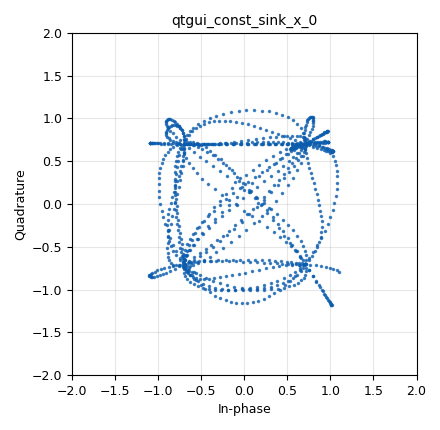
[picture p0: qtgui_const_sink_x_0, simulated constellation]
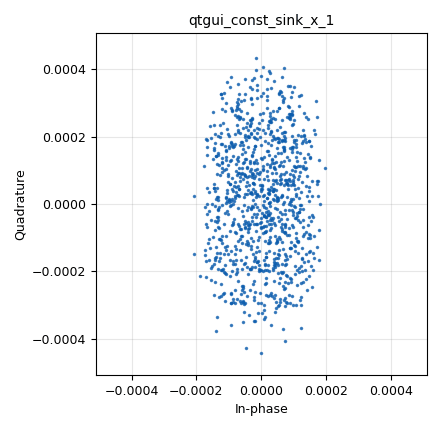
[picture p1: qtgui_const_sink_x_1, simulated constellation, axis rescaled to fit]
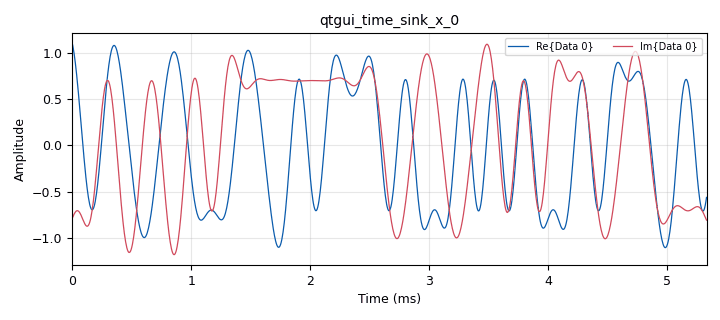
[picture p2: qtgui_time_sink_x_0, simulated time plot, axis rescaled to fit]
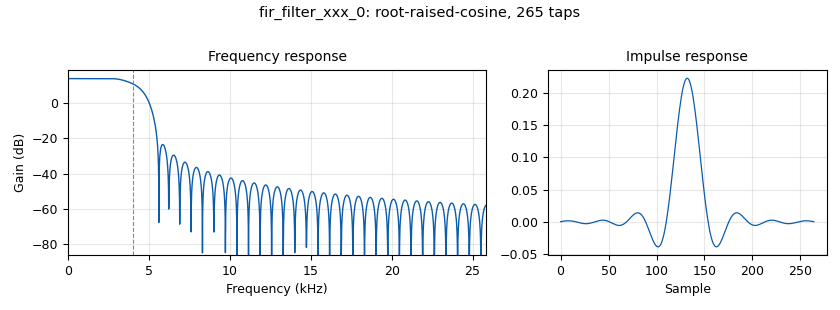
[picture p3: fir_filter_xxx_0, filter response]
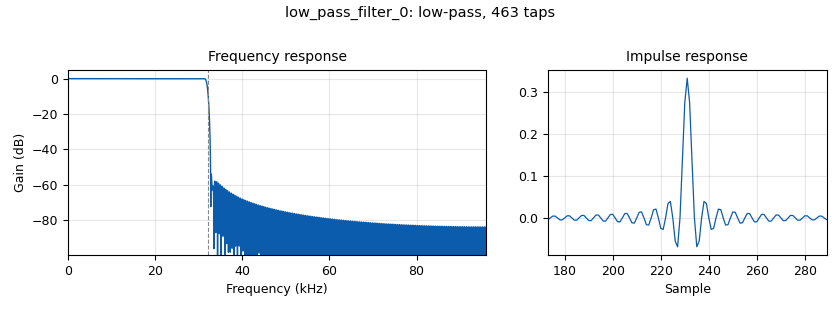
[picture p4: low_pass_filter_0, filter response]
options:
  parameters:
    author: p
    generate_options: qt_gui
    id: week7_lecture32
    output_language: python
    title: Not titled yet
  states: {}

blocks:
- name: delay
  id: variable_qtgui_range
  parameters:
    start: '0'
    step: '1'
    stop: sps
    value: '0'
  states: {}
- name: fc
  id: variable
  parameters:
    value: '32000'
  states: {}
- name: myconst
  id: variable_constellation
  parameters:
    const_points: '[-1-1j, -1+1j, 1+1j, 1-1j]'
    dims: '1'
    normalization: digital.constellation.AMPLITUDE_NORMALIZATION
    precision: '8'
    rot_sym: '4'
    sym_map: '[0, 1, 3, 2]'
    type: calcdist
  states: {}
- name: noisestd
  id: variable_qtgui_range
  parameters:
    start: '0'
    step: '0.01'
    stop: '10'
    value: '0'
  states: {}
- name: rrc_taps
  id: variable_rrc_filter_taps
  parameters:
    alpha: '0.35'
    gain: np.sqrt(sps)
    ntaps: 11*sps
    samp_rate: samp_rate
    sym_rate: '8000'
  states: {}
- name: samp_rate
  id: variable
  parameters:
    value: '192000'
  states: {}
- name: sps
  id: variable
  parameters:
    value: samp_rate // 8000
  states: {}
- name: analog_noise_source_x_0
  id: analog_noise_source_x
  parameters:
    amp: noisestd
    noise_type: analog.GR_GAUSSIAN
    seed: '0'
    type: float
  states: {}
- name: analog_random_source_x_0
  id: analog_random_source_x
  parameters:
    max: '4'
    min: '0'
    num_samps: '1000'
    repeat: 'True'
    type: byte
  states: {}
- name: analog_sig_source_x_0
  id: analog_sig_source_x
  parameters:
    amp: '1'
    freq: '1000'
    offset: '0'
    phase: '0'
    samp_rate: samp_rate
    type: complex
    waveform: analog.GR_COS_WAVE
  states: {}
- name: analog_sig_source_x_1
  id: analog_sig_source_x
  parameters:
    amp: '1.414'
    freq: fc
    offset: '0'
    phase: '0'
    samp_rate: samp_rate
    type: float
    waveform: analog.GR_COS_WAVE
  states: {}
- name: analog_sig_source_x_1_0
  id: analog_sig_source_x
  parameters:
    amp: '-1.414'
    freq: fc
    offset: '0'
    phase: '0'
    samp_rate: samp_rate
    type: float
    waveform: analog.GR_SIN_WAVE
  states: {}
- name: blocks_add_xx_0
  id: blocks_add_xx
  parameters:
    type: float
  states: {}
- name: blocks_complex_to_real_0
  id: blocks_complex_to_real
  parameters: {}
  states: {}
- name: blocks_delay_0
  id: blocks_delay
  parameters:
    delay: delay
    type: complex
  states: {}
- name: blocks_float_to_complex_0
  id: blocks_float_to_complex
  parameters: {}
  states: {}
- name: blocks_multiply_xx_0
  id: blocks_multiply_xx
  parameters:
    type: complex
  states: {}
- name: blocks_multiply_xx_1
  id: blocks_multiply_xx
  parameters:
    type: float
  states: {}
- name: blocks_multiply_xx_1_0
  id: blocks_multiply_xx
  parameters:
    type: float
  states: {}
- name: blocks_throttle2_0
  id: blocks_throttle2
  parameters:
    samples_per_second: samp_rate
    type: complex
  states: {}
- name: digital_constellation_encoder_bc_0
  id: digital_constellation_encoder_bc
  parameters:
    constellation: myconst
  states: {}
- name: fir_filter_xxx_0
  id: fir_filter_xxx
  parameters:
    decim: '1'
    taps: rrc_taps
    type: ccc
  states: {}
- name: fir_filter_xxx_1
  id: fir_filter_xxx
  parameters:
    decim: '1'
    taps: rrc_taps
    type: ccc
  states: {}
- name: import_0
  id: import
  parameters:
    imports: import numpy as np
  states: {}
- name: interp_fir_filter_xxx_0
  id: interp_fir_filter_xxx
  parameters:
    interp: sps
    taps: rrc_taps
    type: ccc
  states: {}
- name: low_pass_filter_0
  id: low_pass_filter
  parameters:
    cutoff_freq: fc
    decim: '1'
    gain: '1'
    samp_rate: samp_rate
    type: fir_filter_fff
    width: '1000'
    win: window.WIN_HAMMING
  states: {}
- name: low_pass_filter_0_0
  id: low_pass_filter
  parameters:
    cutoff_freq: fc
    decim: '1'
    gain: '1'
    samp_rate: samp_rate
    type: fir_filter_fff
    width: '1000'
    win: window.WIN_HAMMING
  states: {}
- name: qtgui_const_sink_x_0
  id: qtgui_const_sink_x
  parameters:
    size: '1024'
    type: complex
  states: {}
- name: qtgui_const_sink_x_1
  id: qtgui_const_sink_x
  parameters:
    size: '1024'
    type: complex
  states: {}
- name: qtgui_time_sink_x_0
  id: qtgui_time_sink_x
  parameters:
    size: '1024'
    srate: samp_rate
    type: complex
  states: {}
- name: virtual_sink_0
  id: virtual_sink
  parameters:
    stream_id: passband_signal
  states: {}
- name: virtual_source_0
  id: virtual_source
  parameters:
    stream_id: passband_signal
  states: {}

connections:
- [analog_noise_source_x_0, '0', blocks_add_xx_0, '1']
- [analog_random_source_x_0, '0', digital_constellation_encoder_bc_0, '0']
- [analog_sig_source_x_0, '0', blocks_multiply_xx_0, '1']
- [analog_sig_source_x_1, '0', blocks_multiply_xx_1, '0']
- [analog_sig_source_x_1_0, '0', blocks_multiply_xx_1_0, '1']
- [blocks_add_xx_0, '0', blocks_multiply_xx_1, '1']
- [blocks_add_xx_0, '0', blocks_multiply_xx_1_0, '0']
- [blocks_complex_to_real_0, '0', virtual_sink_0, '0']
- [blocks_delay_0, '0', fir_filter_xxx_1, '0']
- [blocks_float_to_complex_0, '0', blocks_delay_0, '0']
- [blocks_multiply_xx_0, '0', blocks_complex_to_real_0, '0']
- [blocks_multiply_xx_1, '0', low_pass_filter_0, '0']
- [blocks_multiply_xx_1_0, '0', low_pass_filter_0_0, '0']
- [blocks_throttle2_0, '0', interp_fir_filter_xxx_0, '0']
- [digital_constellation_encoder_bc_0, '0', blocks_throttle2_0, '0']
- [fir_filter_xxx_0, '0', qtgui_const_sink_x_0, '0']
- [fir_filter_xxx_0, '0', qtgui_time_sink_x_0, '0']
- [fir_filter_xxx_1, '0', qtgui_const_sink_x_1, '0']
- [interp_fir_filter_xxx_0, '0', blocks_multiply_xx_0, '0']
- [interp_fir_filter_xxx_0, '0', fir_filter_xxx_0, '0']
- [low_pass_filter_0, '0', blocks_float_to_complex_0, '0']
- [low_pass_filter_0_0, '0', blocks_float_to_complex_0, '1']
- [virtual_source_0, '0', blocks_add_xx_0, '0']

metadata:
  file_format: 1
  grc_version: 3.10.7.0
